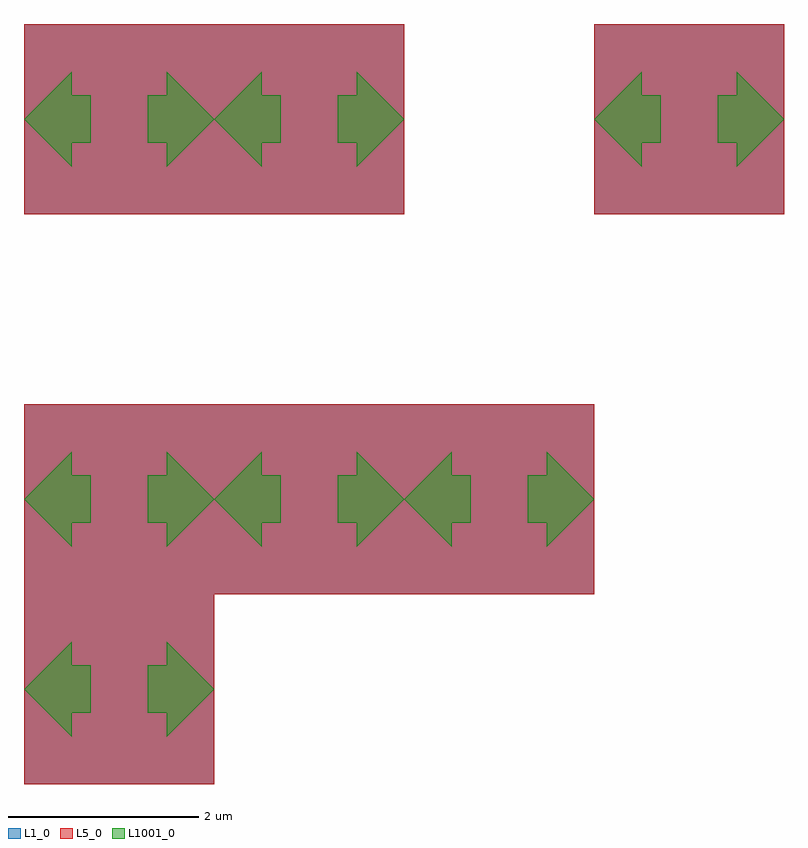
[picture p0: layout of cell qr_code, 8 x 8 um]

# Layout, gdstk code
import gdstk
lib = gdstk.Library(unit=1e-6, precision=1e-09)
def R(c, l, rs):  # rectangles x0, y0, x1, y1
    for r in rs: c.add(gdstk.rectangle(r[:2], r[2:], *l))
def A(c, l, x, y, w, h, nx, ny, dx, dy):  # array of equal rectangles
    R(c, l, [(x+i*dx, y+j*dy, x+i*dx+w, y+j*dy+h) for i in range(nx) for j in range(ny)])
def P(c, l, *ps):  # polygons
    for p in ps: c.add(gdstk.Polygon(p, *l))
L1_0 = (1, 0)
L5_0 = (5, 0)
L1001_0 = (1001, 0)

qr_code = lib.new_cell('qr_code')
A(qr_code, L1_0, 0, 1, 2, 2, 3, 1, 2, 0)
R(qr_code, L1_0, [(0,-1,2,1), (0,5,2,7), (2,5,4,7), (6,5,8,7)])
A(qr_code, L5_0, 0, 1, 2, 2, 3, 1, 2, 0)
R(qr_code, L5_0, [(0,-1,2,1), (0,5,2,7), (2,5,4,7), (6,5,8,7)])
P(qr_code, L1001_0, [(8,6),(7.5,6.5),(7.5,6.25),(7.3,6.25),(7.3,5.75),(7.5,5.75),(7.5,5.5)],
  [(6,6),(6.5,6.5),(6.5,6.25),(6.7,6.25),(6.7,5.75),(6.5,5.75),(6.5,5.5)],
  [(6,2),(5.5,2.5),(5.5,2.25),(5.3,2.25),(5.3,1.75),(5.5,1.75),(5.5,1.5)],
  [(4,2),(4.5,2.5),(4.5,2.25),(4.7,2.25),(4.7,1.75),(4.5,1.75),(4.5,1.5)],
  [(4,6),(3.5,6.5),(3.5,6.25),(3.3,6.25),(3.3,5.75),(3.5,5.75),(3.5,5.5)],
  [(2,6),(2.5,6.5),(2.5,6.25),(2.7,6.25),(2.7,5.75),(2.5,5.75),(2.5,5.5)],
  [(4,2),(3.5,2.5),(3.5,2.25),(3.3,2.25),(3.3,1.75),(3.5,1.75),(3.5,1.5)],
  [(2,2),(2.5,2.5),(2.5,2.25),(2.7,2.25),(2.7,1.75),(2.5,1.75),(2.5,1.5)],
  [(2,6),(1.5,6.5),(1.5,6.25),(1.3,6.25),(1.3,5.75),(1.5,5.75),(1.5,5.5)],
  [(0,6),(0.5,6.5),(0.5,6.25),(0.7,6.25),(0.7,5.75),(0.5,5.75),(0.5,5.5)],
  [(2,2),(1.5,2.5),(1.5,2.25),(1.3,2.25),(1.3,1.75),(1.5,1.75),(1.5,1.5)],
  [(0,2),(0.5,2.5),(0.5,2.25),(0.7,2.25),(0.7,1.75),(0.5,1.75),(0.5,1.5)],
  [(2,0),(1.5,0.5),(1.5,0.25),(1.3,0.25),(1.3,-0.25),(1.5,-0.25),(1.5,-0.5)],
  [(0,0),(0.5,0.5),(0.5,0.25),(0.7,0.25),(0.7,-0.25),(0.5,-0.25),(0.5,-0.5)])

lib.write_gds('qr_code.gds')
